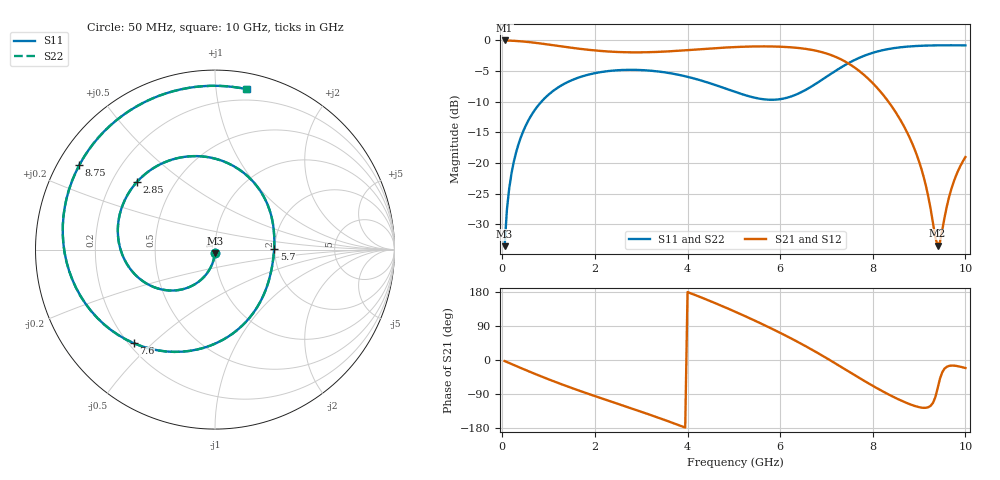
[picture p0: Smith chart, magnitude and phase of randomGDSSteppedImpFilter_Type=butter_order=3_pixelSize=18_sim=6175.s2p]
! freq	dB(S11)	phase(S11)	dB(S12)	phase(S12)
!  dB(S21)	phase(S21)	dB(S22)	phase(S22)
!S-par simulation data
#  GHz  S  DB  R 50
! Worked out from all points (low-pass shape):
!   200 points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, 50 MHz to 10 GHz, reference 50 ohm
!   highest |S21| = -0.01 dB at 50 MHz (marker M1); lowest = -33.5 dB at 9.4 GHz (marker M2)
!   |S21| within 3 dB of the highest: start of sweep to 7.292 GHz
!   lowest |S11| = -33.5 dB at 50 MHz (marker M3), VSWR 1.04, Z = 49.9 - j2.09 ohm
!   |S11| at or under -10 dB: start of sweep to 843.6 MHz
!   |S22| runs from -33.5 to -0.8 dB; largest |S21 - S12| = 0
!   S11 on the Smith chart (normalised r, x): 50 MHz: 1.00, -0.04; 2.85 GHz: 0.30, +0.34; 5.7 GHz: 1.98, +0.02; 7.6 GHz: 0.22, -0.44; 8.75 GHz: 0.06, +0.28; 10 GHz: 0.12, +1.21
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0.05  -33.55 -92.8  -0.01 -2.7  -0.01 -2.7  -33.55 -92.8
0.1  -27.56 -95.7  -0.02 -5.4  -0.02 -5.4  -27.56 -95.7
0.2  -21.62 -101.1  -0.05 -10.6  -0.05 -10.6  -21.62 -101.1
0.5  -13.99 -116.8  -0.21 -26.3  -0.21 -26.3  -13.99 -116.8
1.1  -8.22 -146.4  -0.78 -55.7  -0.78 -55.7  -8.22 -146.3
1.75  -5.81 -175.3  -1.44 -84.7  -1.44 -84.7  -5.81 -175.3
2.85  -4.80 139.1  -1.95 -130.3  -1.95 -130.3  -4.80 139.2
3.4  -5.09 116.0  -1.86 -153.6  -1.86 -153.6  -5.09 116.1
4.3  -6.55 75.0  -1.42 164.9  -1.42 164.9  -6.55 75.1
5.05  -8.45 37.0  -1.07 126.3  -1.07 126.3  -8.45 37.2
5.7  -9.64 0.9  -0.97 89.7  -0.97 89.7  -9.64 1.1
6.2  -9.23 -29.6  -1.10 59.3  -1.10 59.3  -9.23 -29.5
6.7  -7.40 -63.4  -1.56 26.3  -1.56 26.3  -7.40 -63.3
7.1  -5.43 -92.7  -2.39 -2.2  -2.39 -2.2  -5.43 -92.6
7.6  -3.22 -131.0  -4.37 -39.3  -4.37 -39.3  -3.22 -130.9
8  -2.02 -161.0  -6.97 -68.2  -6.97 -68.2  -2.02 -160.9
8.35  -1.39 174.2  -10.11 -91.4  -10.11 -91.4  -1.39 174.3
8.75  -1.01 148.1  -15.13 -114.3  -15.13 -114.3  -1.01 148.3
9.1  -0.86 127.1  -22.28 -126.3  -22.28 -126.3  -0.85 127.3
9.4  -0.80 110.2  -33.46 -75.0  -33.46 -75.0  -0.80 110.5
9.7  -0.79 94.2  -24.14 -14.7  -24.14 -14.7  -0.79 94.4
10  -0.81 78.8  -19.01 -21.2  -19.01 -21.2  -0.81 79.1
